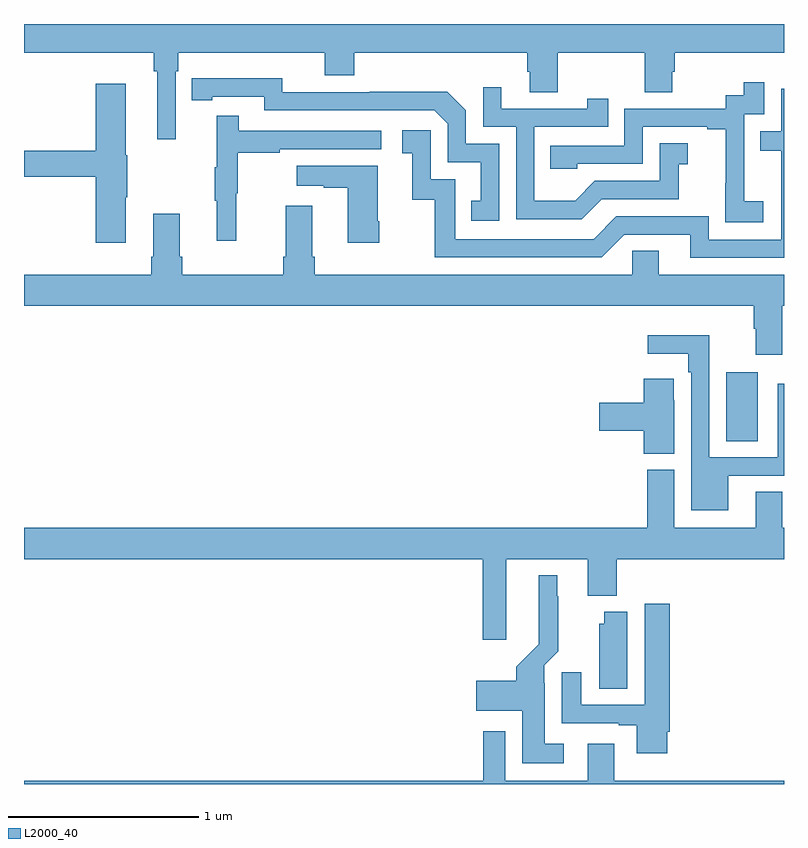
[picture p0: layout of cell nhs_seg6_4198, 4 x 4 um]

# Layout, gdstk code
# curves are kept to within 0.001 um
import gdstk
lib = gdstk.Library(unit=1e-6, precision=1e-09)
def R(c, l, rs):  # rectangles x0, y0, x1, y1
    for r in rs: c.add(gdstk.rectangle(r[:2], r[2:], *l))
def P(c, l, *ps):  # polygons
    for p in ps: c.add(gdstk.Polygon(p, *l))
L2000_40 = (2000, 40)

nhs_seg6_4198 = lib.new_cell('nhs_seg6_4198')
R(nhs_seg6_4198, L2000_40, [(362.696,933.304,362.863,933.667)])
P(nhs_seg6_4198, L2000_40, [(359.799,935.252),(359.813,935.252),(359.813,935.348),(360.584,935.348),(360.584,935.231),(360.737,935.231),(360.737,935.348),(361.649,935.348),(361.649,935.25),(361.661,935.25),(361.661,935.14),(361.809,935.14),(361.809,935.348),(362.266,935.348),(362.266,935.14),(362.413,935.14),(362.413,935.25),(362.426,935.25),(362.426,935.348),(363,935.348),(363,935.5),(359,935.5),(359,935.348),(359.683,935.348),(359.683,935.252),(359.702,935.252),(359.702,934.893),(359.799,934.893)],
  [(361.5,934.869),(361.326,934.869),(361.326,935.046),(361.228,935.144),(360.82,935.144),(360.82,935.142),(360.36,935.142),(360.36,935.215),(359.884,935.214),(359.884,935.098),(359.992,935.098),(359.992,935.118),(360.264,935.118),(360.264,935.046),(361.158,935.046),(361.23,934.974),(361.23,934.773),(361.403,934.773),(361.403,934.569),(361.354,934.569),(361.354,934.464),(361.5,934.464)],
  [(362.89,934.567),(362.792,934.567),(362.792,934.796),(362.79,934.796),(362.79,935.025),(362.895,935.025),(362.895,935.194),(362.787,935.194),(362.787,935.124),(362.694,935.124),(362.694,935.055),(362.16,935.055),(362.16,934.86),(361.771,934.86),(361.771,934.737),(361.911,934.737),(361.911,934.764),(362.256,934.764),(362.256,934.959),(362.597,934.959),(362.597,934.947),(362.693,934.947),(362.693,934.663),(362.692,934.663),(362.692,934.457),(362.89,934.457)],
  [(359.536,934.588),(359.544,934.588),(359.544,934.809),(359.536,934.809),(359.536,935.185),(359.378,935.185),(359.378,934.832),(359,934.832),(359,934.696),(359.378,934.696),(359.378,934.35),(359.536,934.35)],
  [(362.041,934.578),(362.445,934.578),(362.445,934.763),(362.494,934.763),(362.494,934.873),(362.346,934.873),(362.346,934.674),(362.004,934.674),(361.9,934.57),(361.686,934.57),(361.686,934.959),(362.075,934.959),(362.075,935.107),(361.964,935.107),(361.964,935.055),(361.513,935.055),(361.513,935.167),(361.416,935.167),(361.416,934.959),(361.59,934.959),(361.59,934.473),(361.936,934.473)],
  [(363,935.16),(362.985,935.16),(362.985,934.935),(362.875,934.935),(362.875,934.834),(362.985,934.834),(362.985,934.365),(362.604,934.365),(362.604,934.488),(362.118,934.488),(361.998,934.368),(361.269,934.368),(361.269,934.683),(361.14,934.683),(361.14,934.942),(360.99,934.942),(360.99,934.821),(361.043,934.821),(361.043,934.575),(361.161,934.575),(361.161,934.272),(362.04,934.272),(362.16,934.392),(362.507,934.392),(362.507,934.269),(363,934.269)],
  [(360.116,934.608),(360.124,934.608),(360.124,934.822),(360.347,934.822),(360.347,934.842),(360.88,934.842),(360.88,934.938),(360.131,934.938),(360.131,935.017),(360.014,935.017),(360.014,934.745),(360.003,934.745),(360.003,934.571),(360.014,934.571),(360.014,934.359),(360.116,934.359)],
  [(360.87,934.462),(360.862,934.462),(360.862,934.753),(360.435,934.753),(360.435,934.649),(360.578,934.649),(360.578,934.639),(360.704,934.639),(360.704,934.35),(360.87,934.35)],
  [(362.992,934.016),(363,934.016),(363,934.18),(362.341,934.18),(362.341,934.307),(362.202,934.307),(362.202,934.18),(360.53,934.18),(360.53,934.276),(360.517,934.276),(360.517,934.543),(360.377,934.543),(360.377,934.276),(360.365,934.276),(360.365,934.18),(359.834,934.18),(359.834,934.276),(359.821,934.276),(359.821,934.501),(359.681,934.501),(359.681,934.276),(359.669,934.276),(359.669,934.18),(359,934.18),(359,934.016),(362.84,934.016),(362.84,933.896),(362.852,933.896),(362.852,933.759),(362.992,933.759)],
  [(362.707,933.123),(363,933.123),(363,933.607),(362.967,933.607),(362.967,933.219),(362.607,933.219),(362.607,933.862),(362.283,933.862),(362.283,933.764),(362.495,933.764),(362.495,933.668),(362.511,933.668),(362.511,932.942),(362.707,932.942)],
  [(362.422,933.521),(362.421,933.521),(362.421,933.634),(362.261,933.634),(362.261,933.506),(362.028,933.506),(362.028,933.359),(362.261,933.359),(362.261,933.238),(362.422,933.238)],
  [(361.537,932.684),(361.967,932.684),(361.967,932.492),(362.12,932.492),(362.12,932.684),(363,932.684),(363,932.848),(362.992,932.848),(362.992,933.038),(362.852,933.038),(362.852,932.848),(362.422,932.848),(362.422,933.153),(362.279,933.153),(362.279,932.848),(359,932.848),(359,932.684),(361.415,932.684),(361.415,932.259),(361.537,932.259)],
  [(361.84,931.711),(361.741,931.711),(361.741,932.03),(361.737,932.03),(361.737,932.124),(361.811,932.198),(361.811,932.489),(361.807,932.489),(361.807,932.599),(361.709,932.599),(361.71,932.236),(361.592,932.118),(361.592,932.044),(361.38,932.044),(361.38,931.886),(361.622,931.886),(361.622,931.61),(361.84,931.61)],
  [(362.386,931.774),(362.399,931.774),(362.399,932.449),(362.267,932.449),(362.267,931.917),(361.933,931.917),(361.933,932.089),(361.829,932.089),(361.829,931.821),(362.129,931.821),(362.129,931.809),(362.225,931.809),(362.225,931.662),(362.386,931.662)],
  [(362.176,932.407),(362.054,932.407),(362.054,932.343),(362.027,932.343),(362.027,932.002),(362.176,932.002)],
  [(363,931.516),(362.107,931.516),(362.107,931.711),(361.967,931.711),(361.967,931.516),(361.533,931.516),(361.533,931.777),(361.417,931.777),(361.417,931.516),(359,931.516),(359,931.5),(363,931.5)])

lib.write_gds('nhs_seg6_4198.gds')
